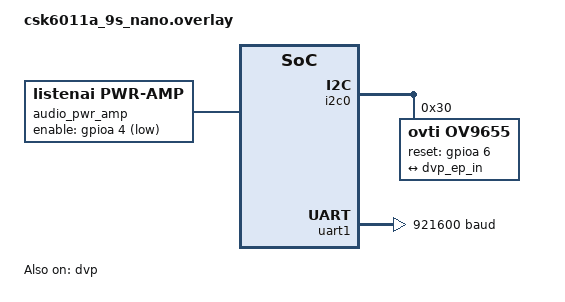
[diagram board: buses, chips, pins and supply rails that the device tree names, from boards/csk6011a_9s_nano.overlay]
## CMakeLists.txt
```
# SPDX-License-Identifier: Apache-2.0

cmake_minimum_required(VERSION 3.20.0)

set(CONF_FILE
  prj.conf
)

if(EXISTS "${CMAKE_CURRENT_SOURCE_DIR}/boards/${BOARD}.conf")
  list(APPEND CONF_FILE
    ${CMAKE_CURRENT_SOURCE_DIR}/boards/${BOARD}.conf
  )
endif()
if(EXISTS "${CMAKE_CURRENT_SOURCE_DIR}/resource/res.conf")
  list(APPEND CONF_FILE
    ${CMAKE_CURRENT_SOURCE_DIR}/resource/res.conf
  )
endif()

set(DTC_OVERLAY_FILE)

if(EXISTS "${CMAKE_CURRENT_SOURCE_DIR}/boards/${BOARD}.overlay")
  list(APPEND DTC_OVERLAY_FILE
    ${CMAKE_CURRENT_SOURCE_DIR}/boards/${BOARD}.overlay
  )
endif()
if(EXISTS "${CMAKE_CURRENT_SOURCE_DIR}/resource/res.overlay")
  list(APPEND DTC_OVERLAY_FILE
    ${CMAKE_CURRENT_SOURCE_DIR}/resource/res.overlay
  )
endif()

find_package(Zephyr REQUIRED HINTS $ENV{ZEPHYR_BASE})
project(sample_head_shoulder_detect)
target_sources(app PRIVATE
  src/main.c
)

set(gen_dir ${ZEPHYR_BINARY_DIR}/include/generated)
generate_inc_file_for_target(
  app
  resource/zephyr.bin
  ${gen_dir}/dsp_firmware.inc
)

generate_inc_file_for_target(
  app
  resource/sof-imx8mp-compr-mp3-wm8960.tplg
  ${gen_dir}/dsp_tplg.inc
)

generate_inc_file_for_target(
  app
  resource/head_shoulder_detect.bin
  ${gen_dir}/head_shoulder_res.inc
)

generate_inc_file_for_target(
  app
  resource/gesture.bin
  ${gen_dir}/gesture.inc
)
```

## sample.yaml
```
tests:
  sample.board.csk6.subsys.avf.alg.hsd:
    platform_allow: csk6002_c3_nano csk6002_9s_nano csk6011a_9s_nano
    tags: csk6
```

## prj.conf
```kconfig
CONFIG_PRINTK=y
CONFIG_DEBUG=y
CONFIG_LOG=y
CONFIG_LOG_MODE_IMMEDIATE=y
CONFIG_LOG_DETECT_MISSED_STRDUP=n
CONFIG_LOG_BACKEND_SHOW_COLOR=y
CONFIG_LOG_BACKEND_FORMAT_TIMESTAMP=y
CONFIG_LOG_BACKEND_UART=y
CONFIG_LOG_BACKEND_UART_OUTPUT_TEXT=y
CONFIG_MAIN_STACK_SIZE=2048

#system heap size,users can define it according to the actual usage
CONFIG_HEAP_MEM_POOL_SIZE=92160
CONFIG_CSK_HEAP=y
CONFIG_CSK_HEAP_MEM_POOL_SIZE=40960

#avf
CONFIG_AVF=y
# CONFIG_AVF_DSP_XIP=y
CONFIG_AVF_DSP_RUN_ADDRESS=0x60000000
CONFIG_AVF_DEBUG_LEVEL=4
CONFIG_AVF_USE_BINARY_ARRAY=y
CONFIG_AVF_MODULES_ALG_HSD=y

#licak
CONFIG_LICAK=y

#IPM and GPIO for avf driver
CONFIG_IPM=y
CONFIG_GPIO=y

#cache
CONFIG_CACHE_MANAGEMENT=y
```

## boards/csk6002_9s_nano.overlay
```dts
/*
 * SPDX-License-Identifier: Apache-2.0
 */
 /delete-node/ &psram_cp;
 /delete-node/ &psram_ap;
 /delete-node/ &psram_share;
 / {
	 chosen {
		 /*
		  * shared memory reserved for the inter-processor communication
		  */
		 zephyr,ipc_shm = &psram_share;
		 zephyr,ipc = &mailbox0;
	 };
 
	 aliases {
		 avf-audio-pwr-amp = &pwr_amp;
	 };
	 pwr_amp:audio_pwr_amp{
		 compatible = "listenai,pwr-amp";
		 enable-gpios = <&gpioa 4 1>;
		 label = "audio_pwr_amp";	
		 status = "okay";
	 };
 
 };
 
 &psram0 {
	psram_cp: psram_cp@30000000 {
		compatible = "listenai,csk6-psram-partition";
		reg = <0x30000000 0x600000>;
		status = "okay";
	};
	psram_ap: psram_ap@30600000 {
		compatible = "zephyr,memory-region","listenai,csk6-psram-partition";
		reg = <0x30600000 0x100000>;
		status = "okay";
		zephyr,memory-region = "PSRAMAP";
	};
	psram_share: psram_share@30700000 {
		compatible = "listenai,csk6-psram-partition";
		reg = <0x30700000 0x80000>;
		status = "okay";
	};
};
```

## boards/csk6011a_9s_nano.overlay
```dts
/*
 * SPDX-License-Identifier: Apache-2.0
 */
/delete-node/ &psram_cp;
/delete-node/ &psram_ap;
/delete-node/ &psram_share;
/ {
	chosen {
		/*
		 * shared memory reserved for the inter-processor communication
		 */
		zephyr,ipc_shm = &psram_share;
		zephyr,ipc = &mailbox0;
	};

	aliases {
		avf-audio-pwr-amp = &pwr_amp;
	};
	pwr_amp: audio_pwr_amp{
		compatible = "listenai,pwr-amp";
		enable-gpios = <&gpioa 4 1>;
		label = "audio_pwr_amp";
		status = "okay";
	};

};

&psram0 {
	psram_cp: psram_cp@30000000 {
		compatible = "listenai,csk6-psram-partition";
		reg = <0x30000000 0x600000>;
		status = "okay";
	};
	psram_ap: psram_ap@30600000 {
		compatible = "zephyr,memory-region","listenai,csk6-psram-partition";
		reg = <0x30600000 0x100000>;
		status = "okay";
		zephyr,memory-region = "PSRAMAP";
	};
	psram_share: psram_share@30700000 {
		compatible = "listenai,csk6-psram-partition";
		reg = <0x30700000 0x80000>;
		status = "okay";
	};
};

&csk6011a_9s_nano_pinctrl {
	pinctrl_uart1_tx_default: uart1_tx_default{
		pinctrls = <&pinmuxa 4 3>;
	};

	pinctrl_i2c0_scl_default: i2c0_scl_default{
		pinctrls = <&pinmuxb 0 8>;
	};

	pinctrl_i2c0_sda_default: i2c0_sda_default{
		pinctrls = <&pinmuxb 1 8>;
	};

	pinctrl_dvp_clkout_default: dvp_clkout_default{
		pinctrls = <&pinmuxa 7 20>;
	};

	pinctrl_dvp_vsync_default: dvp_vsync_default{
		pinctrls = <&pinmuxa 14 20>;
	};

	pinctrl_dvp_hsync_default: dvp_hync_default{
		pinctrls = <&pinmuxa 13 20>;
	};

	pinctrl_dvp_pclk_default: dvp_pclk_default{
		pinctrls = <&pinmuxa 15 20>;
	};

	pinctrl_dvp_d4_default: dvp_d4_default{
		pinctrls = <&pinmuxb 4 20>;
	};

	pinctrl_dvp_d5_default: dvp_d5_default{
		pinctrls = <&pinmuxb 5 20>;
	};

	pinctrl_dvp_d6_default: dvp_d6_default{
		pinctrls = <&pinmuxb 6 20>;
	};

	pinctrl_dvp_d7_default: dvp_d7_default{
		pinctrls = <&pinmuxb 7 20>;
	};


	pinctrl_dvp_d8_default: dvp_d8_default{
		pinctrls = <&pinmuxb 8 20>;
	};


	pinctrl_dvp_d9_default: dvp_d9_default{
		pinctrls = <&pinmuxa 20 20>;
	};


	pinctrl_dvp_d10_default: dvp_d10_default{
		pinctrls = <&pinmuxa 8 20>;
	};


	pinctrl_dvp_d11_default: dvp_d11_default{
		pinctrls = <&pinmuxa 9 20>;
	};
};

&spi0 {
	status = "disabled";
};

&spi1 {
	status = "disabled";
};

&i2c0 {
	status = "okay";
	pinctrl-0 = <&pinctrl_i2c0_scl_default &pinctrl_i2c0_sda_default>;
	pinctrl-names = "default";

	ov9655: ov9655@30 {
		compatible = "ovti,ov9655";
		status = "okay";
		label = "OV9655";
		reg = <0x30>;
		reset-gpios = <&gpioa 6 0>;

		port {
			ov9655_ep_out: endpoint {
				remote-endpoint = <&dvp_ep_in>;
			};
		};
	};

};

&uart1 {
	pinctrl-0 = <&pinctrl_uart1_tx_default>;
	pinctrl-names = "default";
	current-speed = <921600>;
	status = "okay";
};

&dvp {
	status = "okay";
	sensor-label = "OV9655";
	clock-prescaler = <5>;
	data-align-type = "high_align";
	pclk-polarity = "post_edge_sampling";
	hsync-polarity = "active_high";
	vsync-polarity = "active_low";

	pinctrl-0 = <
	&pinctrl_dvp_clkout_default
	&pinctrl_dvp_vsync_default
	&pinctrl_dvp_hsync_default
	&pinctrl_dvp_pclk_default
	&pinctrl_dvp_d4_default
	&pinctrl_dvp_d5_default
	&pinctrl_dvp_d6_default
	&pinctrl_dvp_d7_default
	&pinctrl_dvp_d8_default
	&pinctrl_dvp_d9_default
	&pinctrl_dvp_d10_default
	&pinctrl_dvp_d11_default
	>;
	pinctrl-names = "default";

	port {
		dvp_ep_in: endpoint {
			remote-endpoint = <&ov9655_ep_out>;
		};
	};

};
```

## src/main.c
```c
/*
 *
 * SPDX-License-Identifier: Apache-2.0
 */

#include "dsp_resource.h"
#include <zephyr.h>
#include <stdio.h>
#include <avf/framework/avf_platform.h>
#include <avf/avf_topology_def.h>
#include <avf/modules/hsd/hsd.h>
#include <drivers/video.h>
#include <device.h>

#define LOG_LEVEL CONFIG_LOG_DEFAULT_LEVEL
#include <logging/log.h>
LOG_MODULE_REGISTER(main);

#define VIDEO_DEV DT_LABEL(DT_NODELABEL(dvp))
#define VBUF_NUM 2
#define IMAGE_HEIGHT 240
#define IMAGE_WIDTH 320
#define IMAGE_SIZE (IMAGE_WIDTH * IMAGE_HEIGHT * 2)
#define __packed  __attribute__((packed,aligned(4)));
const struct device *video;
uint8_t image_buf[IMAGE_SIZE];

// typedef enum
// {
// 	RES_FACE_DETECT                     = 1,
// 	RES_FACE_QA                         = 2,
// 	RES_FACE_ALIVE                      = 3,
// 	RES_FACE_VERIFY                     = 4,
// 	RES_FACE_ALIGN						= 5,
// 	RES_HEAD_SHOULDER					= 6,
// 	RES_GESTURE_RECOGNITION				= 7,
// }ePilotResType;
// struct PilotRes
// {
// 	ePilotResType res_buffer_type;
// 	char *res_buffer_addr;
// 	int  res_buffer_size;
// }__packed;

typedef enum
{
	PARAM_PILOT_NONE					= 0,

	//FACE DETECT
	PARAM_PILOT_FACE_DETECT_BEGIN       = 3000,
	PARAM_DETECT_THRES                  = 3001,
	PARAM_DETECT_PROTHRES				= 3002,
	PARAM_DETECT_NMSTHRES				= 3003,
	PARAM_DETECT_PIXESIZE				= 3004,
	PARAM_DETECT_RESVERSION				= 3005,
	PARAM_PILOT_FACE_DETECT_END,

	//FACE VERIFY
	PARAM_PILOT_FACE_VERIFY_BEGIN       = 4000,
	PARAM_VERIFY_THRES                  = 4001,
	PARAM_VERIFY_REGU_A					= 4002,
	PARAM_VERIFY_REGU_B					= 4003,
	PARAM_VERIFY_RESVERSION             = 4004,
	PARAM_PILOT_FACE_VERIFY_END,

	//HEAD SHOULDER
	PARAM_PILOT_HEAD_SHOULDER_DETECT_BEGIN	= 5000,
	PARAM_HEAD_SHOULDER_DETECT_THRES	= 5001,
	PARAM_HEAD_SHOULDER_DETECT_LOSS_CNT = 5002,
	PARAM_HEAD_SHOULDER_DETECT_IOU		= 5003,
	PARAM_HEAD_SHOULDER_DETECT_PIXESIZE = 5004,
	PARAM_HEAD_SHOULDER_DETECT_PROTHRES = 5005,
	PARAM_HEAD_SHOULDER_DETECT_NMSTHRS  = 5006,
	PARAM_HEAD_SHOULDER_DETECT_MODEL    = 5007,
	PARAM_HEAD_SHOULDER_DETECT_IOA		= 5008,
	PARAM_HEAD_SHOULDER_DETECT_IOB		= 5009,
	PARAM_HEAD_SHOULDER_DETECT_CIOU		= 5010,
	PARAM_HEAD_SHOULDER_DETECT_TIMEOUT	= 5011,
	PARAM_HEAD_SHOULDER_DETECT_RESVERSION=5012,
	PARAM_PILOT_HEAD_SHOULDER_DETECT_END,

	//FACE ALIGN
	PARAM_PILOT_FACE_ALIGN_BEGIN 		= 6000,
	PARAM_ALIGN_RESVERSION              = 6001,
	PARAM_PILOT_FACE_ALIGN_END,

	//GESTURE
	PARAM_PILOT_GESTURE_BEGIN           = 7000,
	PARAM_GESTURE_YES_THRES             = 7001,
	PARAM_GESTURE_OK_THRES              = 7002,
	PARAM_GESTURE_STOP_THRES            = 7003,
	PARAM_GESTURE_LIKE_THRES            = 7004,
	PARAM_GESTURE_SIX_THRES             = 7005,
	PARAM_GESTURE_OTHER_THRES           = 7006,
	PARAM_GESTURE_RESVERSION            = 7007,
	PARAM_PILOT_GESTURE_END,
}PILOT_PARAM;
struct PILOT_SET_PARAM
{
	int param_name;
	char* value;
	int len; 
}__packed;
	
typedef enum
{
	PIX_FMT_GRAY8 = 1,
	PIX_FMT_BGR888 = 3,
	PIX_FMT_BGRA8888 = 4
}pixel_format;

typedef enum{
	TYPE_GESTURE_RECOGNITION,
	TYPE_HEAD_SHOULDER_DETECT
}hsd_type;

struct HSD_SET_DATA{
	int type;
	int pixel_format;
	int width;
	int height;
	void* data;
}__packed;
#include <avf/avf_topology_def.h>
void main(void)
{
	int iret;
	if (NULL == avf_stream_platform_register(dsp_firmware, sizeof(dsp_firmware), dsp_tplg,
						 sizeof(dsp_tplg))) {
		printk("avf platform register failed,exit.\n");
		return;
	}

	hsd_t *hsd = hsd_create();

	struct PilotResMgr algo_res;

	algo_res.res_type_arr_[0].res_buffer_addr = gesture_res;
	algo_res.res_type_arr_[0].res_buffer_size = sizeof(gesture_res);
	algo_res.res_type_arr_[0].res_buffer_type =  RES_GESTURE_RECOGNITION;

	algo_res.res_type_arr_[1].res_buffer_addr = head_shoulder_res;
	algo_res.res_type_arr_[1].res_buffer_size = sizeof(head_shoulder_res);
	algo_res.res_type_arr_[1].res_buffer_type =  RES_HEAD_SHOULDER;
	// printk("struct PilotRes size:%d ePilotResType: %d\n",sizeof(struct PilotRes), sizeof(ePilotResType));
	hsd_set_params(hsd, AVF_CTL_MSGID_HSD_INIT_ADRRESS, &algo_res, sizeof(algo_res));
	printk("hsd init addr\n");

	struct PILOT_SET_PARAM set_params;
	set_params.param_name = PARAM_DETECT_THRES;
	set_params.value = "2.34";
	set_params.len = strlen(set_params.value);
	hsd_set_params(hsd, AVF_CTL_MSGID_HSD_SET_PARAMS, &set_params, sizeof(set_params));
	printk("hsd set param ok\n");

	struct HSD_SET_DATA set_data;
	set_data.type = TYPE_HEAD_SHOULDER_DETECT;
	set_data.pixel_format = PIX_FMT_BGR888;
	set_data.height = 320;
	set_data.width = 180;
	set_data.data = image_buf;
	hsd_set_params(hsd, AVF_CTL_MSGID_HSD_GESTURE, &set_data, sizeof(set_data));

	
	// iret = avf_ctl_get_binary(avf_stream_platform_get(),AVG_CTL_COMP_NAME_HSD_CONFIG,AVF_CTL_MSGID_HSD_INIT_ADRRESS,image_buf,256);
	// printk("get data len %d\n",iret);

	// hsd_start_no_video(hsd);

	// while (1) {
	// 	LOG_DBG("Loop transporting...");
	// }

	// hsd_stop(hsd);

	printk("AP EXEC END\n");
}
```

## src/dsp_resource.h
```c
/*
 * SPDX-License-Identifier: Apache-2.0
 */

static const unsigned char dsp_tplg[] = {
#include "dsp_tplg.inc"
};

static const unsigned char dsp_firmware[] = {
#include "dsp_firmware.inc"
};

static const unsigned char head_shoulder_res[] = {
#include "head_shoulder_res.inc"
};

static const unsigned char gesture_res[] = {
#include "gesture.inc"
};
```
